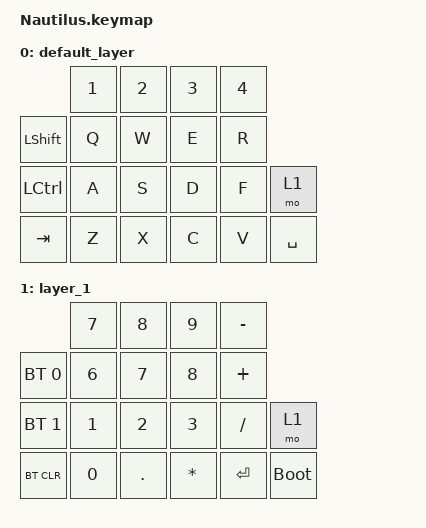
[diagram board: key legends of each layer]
/*
 * Copyright (c) 2020 The ZMK Contributors
 *
 * SPDX-License-Identifier: MIT
 */

#include <behaviors.dtsi>
#include <dt-bindings/zmk/keys.h>
#include <dt-bindings/zmk/bt.h>

/ {
    keymap {
        compatible = "zmk,keymap";

        default_layer {
            bindings = <

        // Row 0 (4 keys)
                  &kp N1    &kp N2    &kp N3    &kp N4

        // Row 1 (5 keys)
        &kp LSHFT     &kp Q     &kp W     &kp E     &kp R

        // Row 2 (6 keys)
        &kp LCTRL     &kp A     &kp S     &kp D     &kp F     &mo 1

        // Row 3 (6 keys)
        &kp TAB     &kp Z     &kp X     &kp C     &kp V     &kp SPACE
            >;
        };

        layer_1 {
            bindings = <
        // Row 0
                        &kp N7      &kp N8      &kp N9      &kp MINUS

        // Row 1
        &bt BT_SEL 0    &kp N6      &kp N7      &kp N8      &kp PLUS 

        // Row 2
        &bt BT_SEL 1    &kp N1      &kp N2      &kp N3       &kp FSLH     &mo 1

        // Row 3
        &bt BT_CLR     &kp N0     &kp DOT    &kp ASTRK      &kp ENTER   &bootloader
            >;
        };
    };
};
